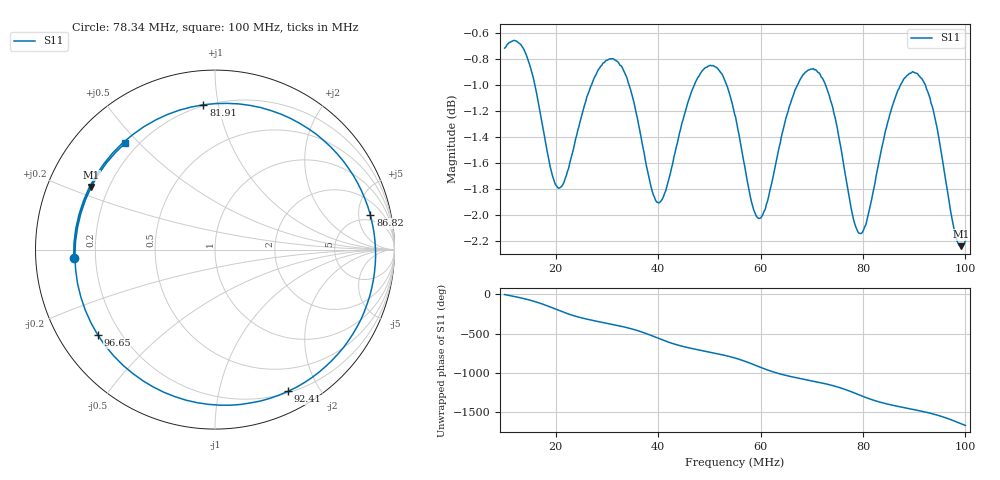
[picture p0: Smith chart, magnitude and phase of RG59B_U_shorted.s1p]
# HZ S RI R 50
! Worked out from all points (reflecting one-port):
!   404 points, 10 MHz to 100 MHz, reference 50 ohm
!   lowest |S11| = -2.2 dB at 99.11 MHz (marker M1), VSWR 7.80, Z = 6.77 + j11.7 ohm
!   phase of S11 starts at -4 deg and turns -1666 deg over the sweep
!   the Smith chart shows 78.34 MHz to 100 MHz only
!   S11 on the Smith chart (normalised r, x): 78.34 MHz: 0.12, -0.03; 81.91 MHz: 0.19, +0.90; 86.82 MHz: 3.83, +6.96; 92.41 MHz: 0.22, -1.62; 96.65 MHz: 0.12, -0.32; 100 MHz: 0.15, +0.46
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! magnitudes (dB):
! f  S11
! 10 MHz  -0.7
! 14.02 MHz  -0.8
! 19.38 MHz  -1.7
! 21.39 MHz  -1.8
! 27.87 MHz  -0.9
! 32.56 MHz  -0.9
! 39.7 MHz  -1.9
! 41.27 MHz  -1.8
! 43.95 MHz  -1.4
! 49.75 MHz  -0.9
! 52.66 MHz  -0.9
! 55.11 MHz  -1.2
! 58.24 MHz  -1.9
! 59.8 MHz  -2.0
! 66.28 MHz  -1.1
! 69.18 MHz  -0.9
! 72.08 MHz  -1.0
! 74.54 MHz  -1.2
! 77.67 MHz  -1.9
! 78.34 MHz  -2.1
! 79.9 MHz  -2.1
! 81.91 MHz  -1.8
! 86.82 MHz  -1.0
! 88.83 MHz  -0.9
! 92.41 MHz  -1.0
! 96.65 MHz  -1.9
! 99.11 MHz  -2.2
! 100 MHz  -2.2
